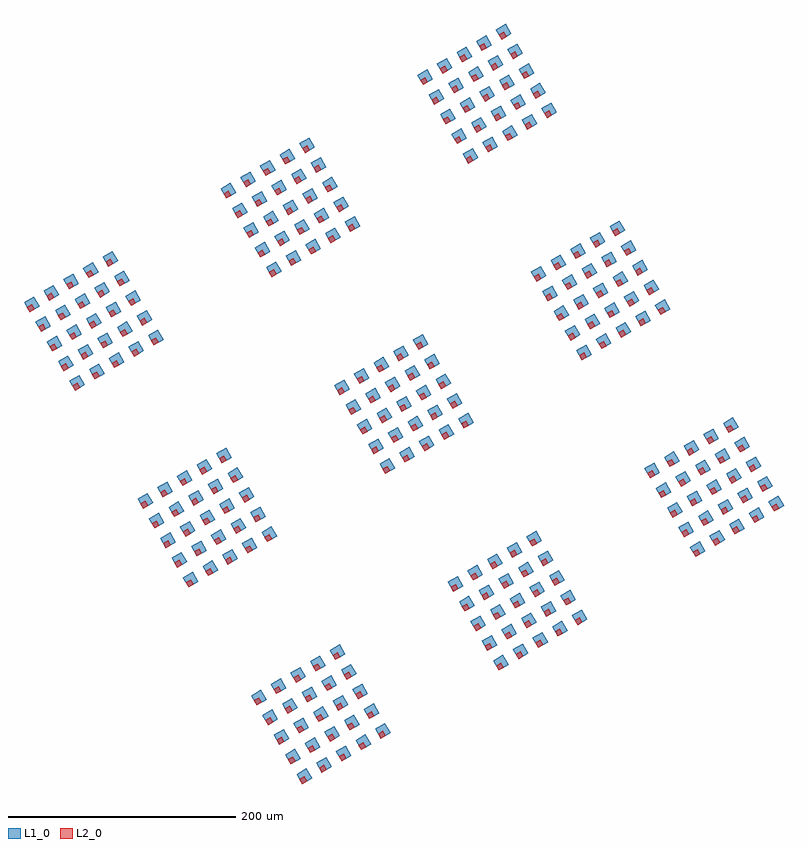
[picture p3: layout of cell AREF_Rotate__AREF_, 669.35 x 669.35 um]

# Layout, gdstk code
from math import pi, radians
import gdstk
lib = gdstk.Library(unit=1e-6, precision=1e-09)
def R(c, l, rs):  # rectangles x0, y0, x1, y1
    for r in rs: c.add(gdstk.rectangle(r[:2], r[2:], *l))
L1_0 = (1, 0)
L2_0 = (2, 0)

box = lib.new_cell('box')
R(box, L1_0, [(-5,-5,5,5)])
R(box, L2_0, [(-5,-5,0,0)])

aref = lib.new_cell('AREF')
r = gdstk.Reference(box, (0,0)); r.repetition = gdstk.Repetition(5, 5, v1=(20,0), v2=(0,20)); aref.add(r)

aref_rotate__aref_ = lib.new_cell('AREF_Rotate__AREF_')
r = gdstk.Reference(aref, (100,100), rotation=radians(30)); r.repetition = gdstk.Repetition(3, 3, v1=(173.205,100), v2=(-100,173.205)); aref_rotate__aref_.add(r)

lib.write_gds('AREF_Rotate__AREF_.gds')
